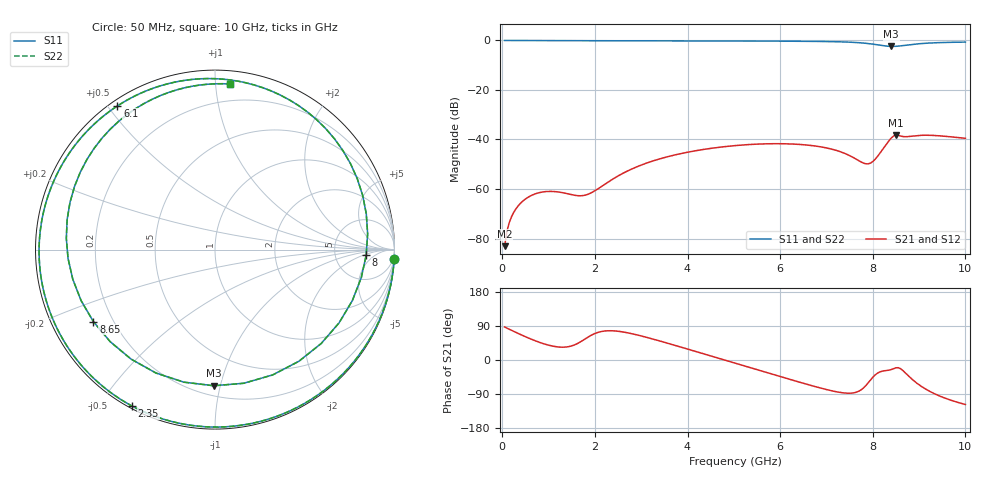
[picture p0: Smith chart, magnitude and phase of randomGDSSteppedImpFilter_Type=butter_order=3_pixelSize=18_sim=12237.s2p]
! freq	dB(S11)	phase(S11)	dB(S12)	phase(S12)
!  dB(S21)	phase(S21)	dB(S22)	phase(S22)
!S-par simulation data
#  GHz  S  DB  R 50
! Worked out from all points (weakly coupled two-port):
!   200 points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, 50 MHz to 10 GHz, reference 50 ohm
!   highest |S21| = -38.24 dB at 8.5 GHz (marker M1); lowest = -83.1 dB at 50 MHz (marker M2)
!   lowest |S11| = -2.4 dB at 8.4 GHz (marker M3), VSWR 7.28, Z = 13.3 - j47.7 ohm
!   |S11| at or under -10 dB: nowhere
!   |S22| runs from -2.4 to 0.0 dB; largest |S21 - S12| = 0
!   S11 on the Smith chart (normalised r, x): 50 MHz: 0, -38; 2.35 GHz: 0.01, -0.60; 6.1 GHz: 0.02, +0.53; 8 GHz: 11, -2; 8.65 GHz: 0.13, -0.27; 10 GHz: 0.08, +1.09
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0.05  -0.00 -3.0  -83.09 87.0  -83.09 87.0  -0.00 -3.0
0.25  -0.02 -14.9  -69.34 75.3  -69.34 75.3  -0.02 -14.9
0.6  -0.04 -35.1  -62.88 56.2  -62.88 56.2  -0.04 -35.1
1.15  -0.08 -64.8  -61.06 35.3  -61.06 35.3  -0.08 -64.8
1.75  -0.10 -93.3  -62.64 52.5  -62.64 52.5  -0.10 -93.3
2.35  -0.12 -118.0  -56.41 77.2  -56.41 77.2  -0.12 -118.0
3.4  -0.14 -154.2  -47.83 50.2  -47.83 50.2  -0.14 -154.2
5.05  -0.21 156.9  -42.43 -9.1  -42.43 -9.1  -0.21 156.9
6.1  -0.29 124.2  -41.73 -47.2  -41.73 -47.2  -0.29 124.2
6.7  -0.37 101.5  -42.50 -68.3  -42.50 -68.3  -0.37 101.5
7.5  -0.69 56.0  -46.51 -87.6  -46.51 -87.6  -0.69 56.0
7.75  -0.97 32.3  -49.10 -78.6  -49.10 -78.6  -0.97 32.3
8  -1.49 -2.2  -48.91 -45.7  -48.91 -45.7  -1.48 -2.1
8.15  -1.91 -30.6  -45.65 -31.6  -45.65 -31.6  -1.91 -30.5
8.35  -2.36 -77.9  -40.51 -26.8  -40.51 -26.8  -2.36 -77.7
8.4  -2.40 -90.6  -39.40 -25.2  -39.40 -25.2  -2.40 -90.4
8.5  -2.36 -115.6  -38.24 -20.6  -38.24 -20.6  -2.36 -115.4
8.65  -2.08 -149.4  -38.81 -27.8  -38.81 -27.8  -2.08 -149.2
8.9  -1.51 168.4  -38.53 -56.2  -38.53 -56.2  -1.51 168.6
9.25  -1.02 131.0  -38.31 -84.0  -38.31 -84.0  -1.02 131.1
9.6  -0.79 106.2  -38.77 -102.4  -38.77 -102.4  -0.79 106.3
10  -0.66 84.8  -39.53 -117.4  -39.53 -117.4  -0.66 84.9
